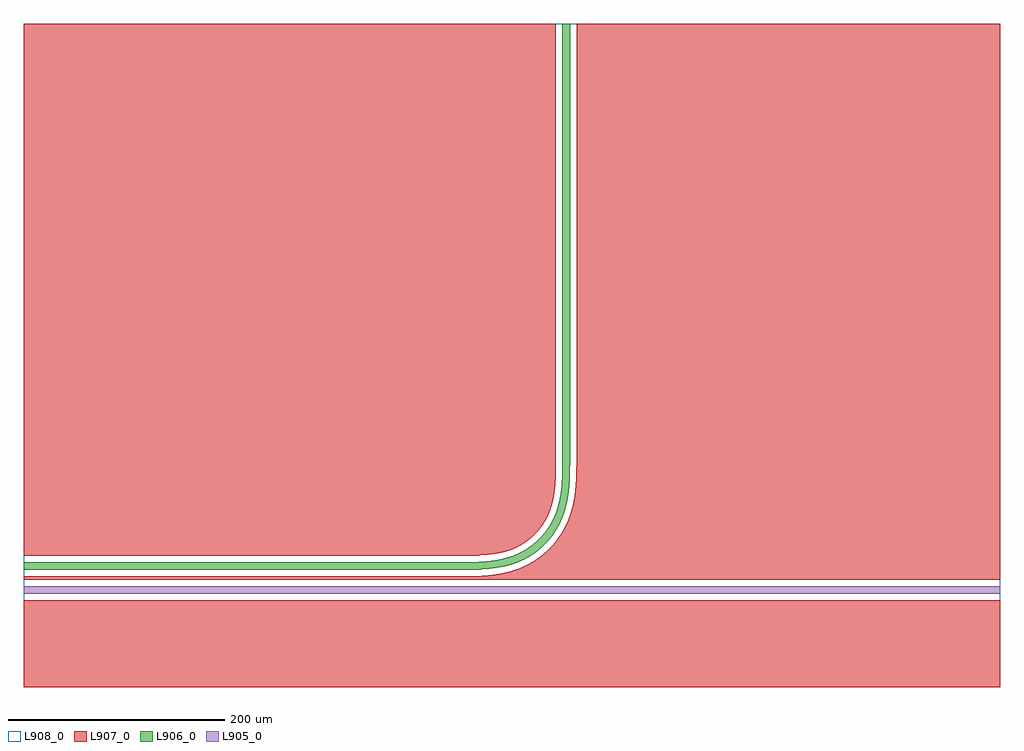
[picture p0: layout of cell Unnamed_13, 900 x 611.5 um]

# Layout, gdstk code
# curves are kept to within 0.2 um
import gdstk
lib = gdstk.Library(unit=1e-6, precision=1e-09)
def R(c, l, rs):  # rectangles x0, y0, x1, y1
    for r in rs: c.add(gdstk.rectangle(r[:2], r[2:], *l))
def P(c, l, *ps):  # polygons
    for p in ps: c.add(gdstk.Polygon(p, *l))
L905_0 = (905, 0)
L906_0 = (906, 0)
L907_0 = (907, 0)
L908_0 = (908, 0)

unnamed_13 = lib.new_cell('Unnamed_13')
R(unnamed_13, L905_0, [(-400,-14.5,500,-7.5)])
P(unnamed_13, L906_0, [(-400,7.5),(-400,14.5),(2.264,14.5),(21.38,14.922),(30.198,15.7),(38.108,16.938),(45.092,18.595),(51.856,20.847),(58.348,23.77),(64.179,27.159),(69.641,31.116),(74.769,35.691),(79.563,40.963),(83.632,46.501),(87.113,52.426),(90.015,58.79),(92.3,65.539),(94.062,72.892),(95.3,80.802),(96.078,89.62),(96.5,108.736),(96.5,511),(103.5,511),(103.5,108.731),(103.176,91.237),(102.361,80.916),(101.087,72.359),(99.217,64.275),(96.879,57.132),(93.77,50.07),(89.938,43.358),(85.339,36.972),(80.188,31.21),(74.464,26.015),(68.114,21.368),(61.556,17.549),(54.389,14.321),(46.858,11.82),(38.641,9.913),(30.084,8.639),(19.763,7.824),(2.269,7.5)])
R(unnamed_13, L907_0, [(-400,-100.5,500,-20.5)])
P(unnamed_13, L907_0, [(-400,20.5),(-400,511),(90.5,511),(90.5,108.74),(90.255,93.272),(89.627,84.106),(88.568,76.19),(87.093,69.254),(85.011,62.512),(82.419,56.438),(79.063,50.482),(75.208,45.119),(70.879,40.285),(65.881,35.792),(60.518,31.937),(54.562,28.581),(48.488,25.989),(41.746,23.907),(34.81,22.432),(26.894,21.373),(17.728,20.745),(2.26,20.5)],
  [(-400,-1.5),(-400,1.5),(16.306,1.679),(31.328,2.743),(44.617,5.047),(50.616,6.67),(56.561,8.728),(61.992,11.069),(67.113,13.735),(75.748,19.399),(83.692,26.233),(90.582,33.926),(96.58,42.703),(101.184,51.777),(104.713,61.666),(107.193,72.397),(108.73,84.347),(109.321,94.694),(109.498,107.116),(109.5,511),(500,511),(500,-1.5)])
R(unnamed_13, L908_0, [(-400,-100.5,500,511)])

lib.write_gds('Unnamed_13.gds')
